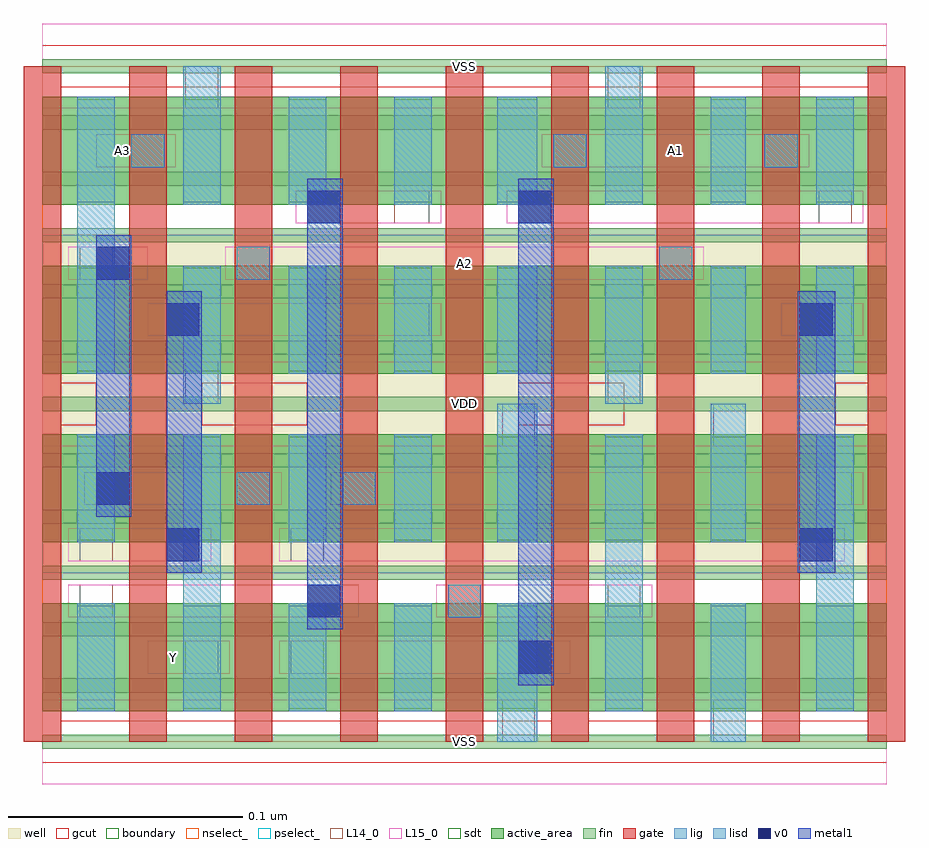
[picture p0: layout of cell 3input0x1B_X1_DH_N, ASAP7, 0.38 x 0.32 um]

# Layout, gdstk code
import gdstk
lib = gdstk.Library(unit=1e-6, precision=1e-09)
def R(c, l, rs):  # rectangles x0, y0, x1, y1
    for r in rs: c.add(gdstk.rectangle(r[:2], r[2:], *l))
def A(c, l, x, y, w, h, nx, ny, dx, dy):  # array of equal rectangles
    R(c, l, [(x+i*dx, y+j*dy, x+i*dx+w, y+j*dy+h) for i in range(nx) for j in range(ny)])
def P(c, l, *ps):  # polygons
    for p in ps: c.add(gdstk.Polygon(p, *l))
well = (1, 0)
fin = (2, 0)
gate = (7, 0)
gcut = (10, 0)
active_area = (11, 0)
nselect_ = (12, 0)
pselect_ = (13, 0)
L14_0 = (14, 0)
L15_0 = (15, 0)
lig = (16, 0)
lisd = (17, 0)
v0 = (18, 0)
metal1 = (19, 0)
sdt = (88, 0)
boundary = (100, 0)

c_3input0x1b_x1_dh_n = lib.new_cell('3input0x1B_X1_DH_N')
R(c_3input0x1b_x1_dh_n, well, [(0,0.072,0.36,0.144), (0,0.144,0.36,0.216)])
A(c_3input0x1b_x1_dh_n, fin, 0, -0.003, 0.36, 0.006, 1, 13, 0, 0.024)
A(c_3input0x1b_x1_dh_n, gate, -0.008, 0, 0.016, 0.288, 9, 1, 0.045, 0)
R(c_3input0x1b_x1_dh_n, gcut, [(0.068,0.135,0.113,0.153)])
P(c_3input0x1b_x1_dh_n, gcut, [(0,-0.009),(0,0),(-0.008,0),(-0.008,0.279),(0.008,0.279),(0.008,0.153),(0.023,0.153),(0.023,0.135),(0.008,0.135),(0.008,0.009),(0.217,0.009),(0.217,0.135),(0.203,0.135),(0.203,0.153),(0.248,0.153),(0.248,0.135),(0.233,0.135),(0.233,0.009),(0.352,0.009),(0.352,0.135),(0.338,0.135),(0.338,0.153),(0.352,0.153),(0.352,0.279),(-0.008,0.279),(-0.008,0.288),(0,0.288),(0,0.297),(0.36,0.297),(0.36,0.288),(0.368,0.288),(0.368,0),(0.36,0),(0.36,-0.009)])
A(c_3input0x1b_x1_dh_n, active_area, 0, 0.013, 0.36, 0.046, 1, 4, 0, 0.072)
R(c_3input0x1b_x1_dh_n, nselect_, [(0,0,0.36,0.072), (0,0.216,0.36,0.288)])
R(c_3input0x1b_x1_dh_n, pselect_, [(0,0.072,0.36,0.144), (0,0.144,0.36,0.216)])
R(c_3input0x1b_x1_dh_n, L14_0, [(0.196,0,0.21,0.018), (0.286,0,0.3,0.018), (0.061,0.029,0.075,0.043), (0.106,0.029,0.12,0.043), (0.016,0.053,0.03,0.067), (0.173,0.053,0.187,0.067), (0.241,0.053,0.255,0.067), (0.016,0.077,0.03,0.091), (0.106,0.077,0.12,0.091), (0.083,0.101,0.097,0.115), (0.128,0.101,0.142,0.115), (0.331,0.101,0.345,0.115), (0.196,0.126,0.21,0.144), (0.286,0.126,0.3,0.144), (0.061,0.144,0.075,0.162), (0.241,0.144,0.255,0.162), (0.15,0.173,0.165,0.187), (0.331,0.173,0.345,0.187), (0.016,0.197,0.03,0.211), (0.083,0.197,0.097,0.211), (0.263,0.197,0.277,0.211), (0.15,0.221,0.165,0.235), (0.331,0.221,0.345,0.235), (0.038,0.245,0.052,0.259), (0.218,0.245,0.232,0.259), (0.308,0.245,0.322,0.259), (0.061,0.27,0.075,0.288), (0.241,0.27,0.255,0.288)])
A(c_3input0x1b_x1_dh_n, L15_0, 0, -0.018, 0.36, 0.036, 1, 3, 0, 0.144)
R(c_3input0x1b_x1_dh_n, L15_0, [(0.045,0.029,0.08,0.043), (0.101,0.029,0.225,0.043), (0.011,0.053,0.135,0.067), (0.168,0.053,0.26,0.067), (0.011,0.077,0.072,0.091), (0.101,0.077,0.342,0.091), (0.018,0.101,0.102,0.115), (0.123,0.101,0.35,0.115), (0.045,0.173,0.17,0.187), (0.315,0.173,0.35,0.187), (0.011,0.197,0.045,0.211), (0.078,0.197,0.282,0.211), (0.108,0.221,0.17,0.235), (0.198,0.221,0.35,0.235), (0.023,0.245,0.057,0.259), (0.213,0.245,0.327,0.259)])
R(c_3input0x1b_x1_dh_n, lig, [(0.173,0.053,0.187,0.067), (0.083,0.101,0.097,0.115), (0.128,0.101,0.142,0.115), (0.083,0.197,0.097,0.211), (0.263,0.197,0.277,0.211), (0.038,0.245,0.052,0.259), (0.218,0.245,0.232,0.259), (0.308,0.245,0.322,0.259)])
A(c_3input0x1b_x1_dh_n, lisd, 0.105, 0.013, 0.016, 0.046, 1, 4, 0, 0.072)
A(c_3input0x1b_x1_dh_n, lisd, 0.15, 0.013, 0.016, 0.046, 1, 4, 0, 0.072)
R(c_3input0x1b_x1_dh_n, lisd, [(0.194,0,0.211,0.059), (0.285,0,0.3,0.059), (0.015,0.013,0.031,0.059), (0.06,0.013,0.076,0.131), (0.24,0.013,0.256,0.131), (0.33,0.013,0.346,0.131), (0.015,0.085,0.031,0.131), (0.194,0.085,0.211,0.144), (0.285,0.085,0.3,0.144), (0.06,0.144,0.076,0.203), (0.24,0.144,0.256,0.203), (0.015,0.157,0.031,0.275), (0.194,0.157,0.211,0.203), (0.285,0.157,0.3,0.203), (0.33,0.157,0.346,0.203), (0.06,0.229,0.076,0.288), (0.194,0.229,0.211,0.275), (0.24,0.229,0.256,0.288), (0.285,0.229,0.3,0.275), (0.33,0.229,0.346,0.275)])
R(c_3input0x1b_x1_dh_n, v0, [(0.203,0.029,0.217,0.043), (0.113,0.053,0.127,0.067), (0.053,0.077,0.067,0.091), (0.323,0.077,0.337,0.091), (0.023,0.101,0.037,0.115), (0.053,0.173,0.067,0.187), (0.323,0.173,0.337,0.187), (0.023,0.197,0.037,0.211), (0.113,0.221,0.127,0.235), (0.203,0.221,0.217,0.235)])
R(c_3input0x1b_x1_dh_n, metal1, [(0.203,0.024,0.218,0.24), (0.113,0.048,0.128,0.24), (0.053,0.072,0.068,0.192), (0.322,0.072,0.338,0.192), (0.023,0.096,0.038,0.216)])
A(c_3input0x1b_x1_dh_n, sdt, 0.015, 0.014, 0.016, 0.044, 4, 4, 0.045, 0.072)
A(c_3input0x1b_x1_dh_n, sdt, 0.194, 0.014, 0.017, 0.044, 1, 4, 0, 0.072)
A(c_3input0x1b_x1_dh_n, sdt, 0.24, 0.014, 0.016, 0.044, 1, 4, 0, 0.072)
A(c_3input0x1b_x1_dh_n, sdt, 0.285, 0.014, 0.015, 0.044, 1, 4, 0, 0.072)
A(c_3input0x1b_x1_dh_n, sdt, 0.33, 0.014, 0.016, 0.044, 1, 4, 0, 0.072)
R(c_3input0x1b_x1_dh_n, boundary, [(0,0,0.36,0.288)])
c_3input0x1b_x1_dh_n.add(gdstk.Label('A1', (0.27,0.252), layer=15, texttype=251))
c_3input0x1b_x1_dh_n.add(gdstk.Label('VSS', (0.18,0), layer=15, texttype=251))
c_3input0x1b_x1_dh_n.add(gdstk.Label('VDD', (0.18,0.144), layer=15, texttype=251))
c_3input0x1b_x1_dh_n.add(gdstk.Label('VDD', (0.18,0.144), layer=15, texttype=251))
c_3input0x1b_x1_dh_n.add(gdstk.Label('VSS', (0.18,0.288), layer=15, texttype=251))
c_3input0x1b_x1_dh_n.add(gdstk.Label('A3', (0.034,0.252), layer=15, texttype=251))
c_3input0x1b_x1_dh_n.add(gdstk.Label('VSS', (0.18,0), layer=15, texttype=251))
c_3input0x1b_x1_dh_n.add(gdstk.Label('VDD', (0.18,0.144), layer=15, texttype=251))
c_3input0x1b_x1_dh_n.add(gdstk.Label('VDD', (0.18,0.144), layer=15, texttype=251))
c_3input0x1b_x1_dh_n.add(gdstk.Label('VSS', (0.18,0.288), layer=15, texttype=251))
c_3input0x1b_x1_dh_n.add(gdstk.Label('Y', (0.056,0.036), layer=15, texttype=251))
c_3input0x1b_x1_dh_n.add(gdstk.Label('VSS', (0.18,0), layer=15, texttype=251))
c_3input0x1b_x1_dh_n.add(gdstk.Label('VDD', (0.18,0.144), layer=15, texttype=251))
c_3input0x1b_x1_dh_n.add(gdstk.Label('VDD', (0.18,0.144), layer=15, texttype=251))
c_3input0x1b_x1_dh_n.add(gdstk.Label('VSS', (0.18,0.288), layer=15, texttype=251))
c_3input0x1b_x1_dh_n.add(gdstk.Label('A2', (0.18,0.204), layer=15, texttype=251))
c_3input0x1b_x1_dh_n.add(gdstk.Label('VSS', (0.18,0), layer=15, texttype=251))
c_3input0x1b_x1_dh_n.add(gdstk.Label('VDD', (0.18,0.144), layer=15, texttype=251))
c_3input0x1b_x1_dh_n.add(gdstk.Label('VDD', (0.18,0.144), layer=15, texttype=251))
c_3input0x1b_x1_dh_n.add(gdstk.Label('VSS', (0.18,0.288), layer=15, texttype=251))
c_3input0x1b_x1_dh_n.add(gdstk.Label('VSS', (0.18,0), layer=3, texttype=251))
c_3input0x1b_x1_dh_n.add(gdstk.Label('VSS', (0.18,0.288), layer=3, texttype=251))
c_3input0x1b_x1_dh_n.add(gdstk.Label('VSS', (0.18,0), layer=3, texttype=251))
c_3input0x1b_x1_dh_n.add(gdstk.Label('VSS', (0.18,0.288), layer=3, texttype=251))
c_3input0x1b_x1_dh_n.add(gdstk.Label('VSS', (0.18,0), layer=3, texttype=251))
c_3input0x1b_x1_dh_n.add(gdstk.Label('VSS', (0.18,0.288), layer=3, texttype=251))
c_3input0x1b_x1_dh_n.add(gdstk.Label('VSS', (0.18,0), layer=3, texttype=251))
c_3input0x1b_x1_dh_n.add(gdstk.Label('VSS', (0.18,0.288), layer=3, texttype=251))
c_3input0x1b_x1_dh_n.add(gdstk.Label('VDD', (0.18,0.144), layer=1, texttype=251))
c_3input0x1b_x1_dh_n.add(gdstk.Label('VDD', (0.18,0.144), layer=1, texttype=251))
c_3input0x1b_x1_dh_n.add(gdstk.Label('VDD', (0.18,0.144), layer=1, texttype=251))
c_3input0x1b_x1_dh_n.add(gdstk.Label('VDD', (0.18,0.144), layer=1, texttype=251))
c_3input0x1b_x1_dh_n.add(gdstk.Label('VDD', (0.18,0.144), layer=1, texttype=251))
c_3input0x1b_x1_dh_n.add(gdstk.Label('VDD', (0.18,0.144), layer=1, texttype=251))
c_3input0x1b_x1_dh_n.add(gdstk.Label('VDD', (0.18,0.144), layer=1, texttype=251))
c_3input0x1b_x1_dh_n.add(gdstk.Label('VDD', (0.18,0.144), layer=1, texttype=251))

lib.write_gds('3input0x1B_X1_DH_N.gds')
